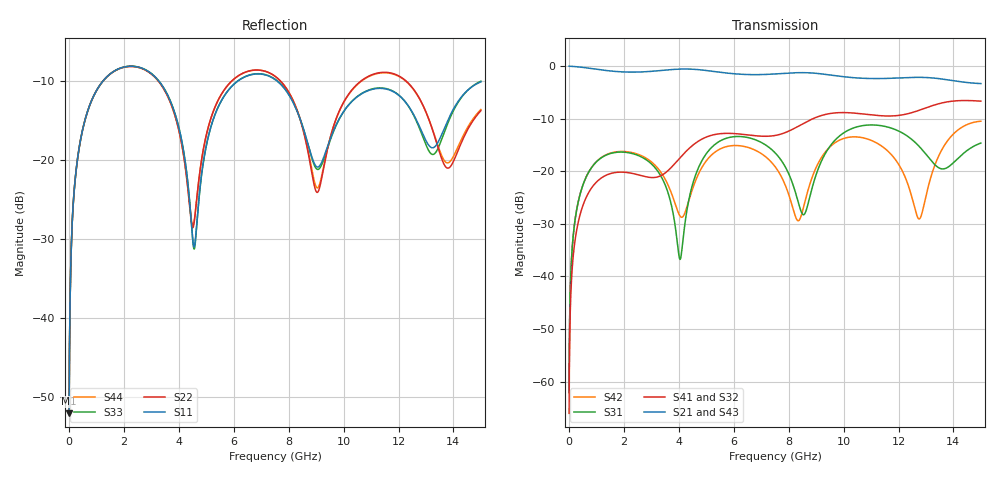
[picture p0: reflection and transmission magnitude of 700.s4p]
! Created with skrf 1.8.0 (http://scikit-rf.org).
# GHz S RI R 50.0
!freq ReS11 ImS11 ReS12 ImS12 ReS13 ImS13
! ReS14 ImS14
! ReS21 ImS21 ReS22 ImS22 ReS23 ImS23
! ReS24 ImS24
! ReS31 ImS31 ReS32 ImS32 ReS33 ImS33
! ReS34 ImS34
! ReS41 ImS41 ReS42 ImS42 ReS43 ImS43
! ReS44 ImS44
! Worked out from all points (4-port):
!   2499 points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, 5 MHz to 15 GHz, reference 50 ohm
!   strongest paths, dB at 5 MHz, 3.476 GHz, 7.19 GHz, 11.1 GHz, 15 GHz:
!     S21: 0.0, -0.8, -1.6, -2.4, -3.3
!     S43: 0.0, -0.8, -1.6, -2.4, -3.3
!     S41: -66.0, -20.4, -13.3, -9.3, -6.7
!     S32: -66.0, -20.5, -13.4, -9.4, -6.7
!     S31: -62.1, -22.3, -15.1, -11.2, -14.6
!     S42: -62.1, -21.3, -17.4, -14.3, -10.5
!   lowest |S11| = -52.1 dB at 5 MHz (marker M1), VSWR 1.00, Z = 50.2 + j0.151 ohm
!   |S11| at or under -10 dB: start of sweep to 1.229 GHz; 3.28 GHz to 6.133 GHz (2.853 GHz wide, 60.6 % of centre); 7.592 GHz to end of sweep
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0.005  0.00198 0.0015  0.998 -0.00385  0.0001 0.000781  -9.75e-05 -0.000491
       0.998 -0.00385  0.00198 0.0015  -9.75e-05 -0.000491  0.0001 0.000781
       0.0001 0.000781  -9.75e-05 -0.000491  0.00198 0.0015  0.998 -0.00385
       -9.75e-05 -0.000491  0.0001 0.000781  0.998 -0.00385  0.00198 0.0015
0.3126303  0.0331 0.097  0.9547 -0.2374  0.0153 0.0452  -0.0129 -0.0277
           0.9547 -0.2374  0.033 0.097  -0.0129 -0.0277  0.0156 0.0452
           0.0153 0.0452  -0.0129 -0.0277  0.0331 0.097  0.9546 -0.2374
           -0.0129 -0.0277  0.0156 0.0452  0.9546 -0.2374  0.033 0.097
1.3193  0.2797 0.1746  0.5307 -0.7393  0.1278 0.0601  -0.0908 -0.00331
        0.5307 -0.7393  0.2788 0.1751  -0.0907 -0.00344  0.1307 0.0559
        0.1278 0.0601  -0.0907 -0.00344  0.2798 0.1746  0.5307 -0.7393
        -0.0908 -0.00331  0.1307 0.0559  0.5307 -0.7393  0.2788 0.1752
4.401834  0.0302 -0.043  -0.9243 -0.1483  0.0232 0.0547  -0.0229 0.1658
          -0.9243 -0.1483  0.0382 -0.031  -0.025 0.1656  -0.0352 0.0443
          0.0232 0.0547  -0.025 0.1656  0.0294 -0.0439  -0.9242 -0.1483
          -0.0229 0.1658  -0.0352 0.0443  -0.9242 -0.1483  0.0395 -0.0318
9.085035  0.0907 -0.00216  0.84 0.1231  0.0133 0.1062  0.0343 -0.3299
          0.84 0.1231  0.0636 0.00511  0.0426 -0.3294  -0.0175 0.1192
          0.0133 0.1062  0.0426 -0.3294  0.0875 -0.00331  0.8402 0.1218
          0.0343 -0.3299  -0.0175 0.1192  0.8402 0.1218  0.0676 0.00271
11.94248  0.258 -0.0529  -0.0954 -0.7637  0.1067 -0.2211  -0.3218 0.104
          -0.0954 -0.7637  0.3275 -0.1148  -0.3236 0.0914  0.1183 -0.0348
          0.1067 -0.2211  -0.3236 0.0914  0.2578 -0.0592  -0.0994 -0.7633
          -0.3218 0.104  0.1183 -0.0348  -0.0994 -0.7633  0.3251 -0.1142
15  0.3059 0.0708  -0.5559 0.3945  0.1693 0.0755  0.3408 0.3151
    -0.5559 0.3945  0.1975 0.0583  0.3277 0.3281  0.2952 0.049
    0.1693 0.0755  0.3277 0.3281  0.3066 0.0803  -0.5498 0.4005
    0.3408 0.3151  0.2952 0.049  -0.5498 0.4005  0.203 0.0525
